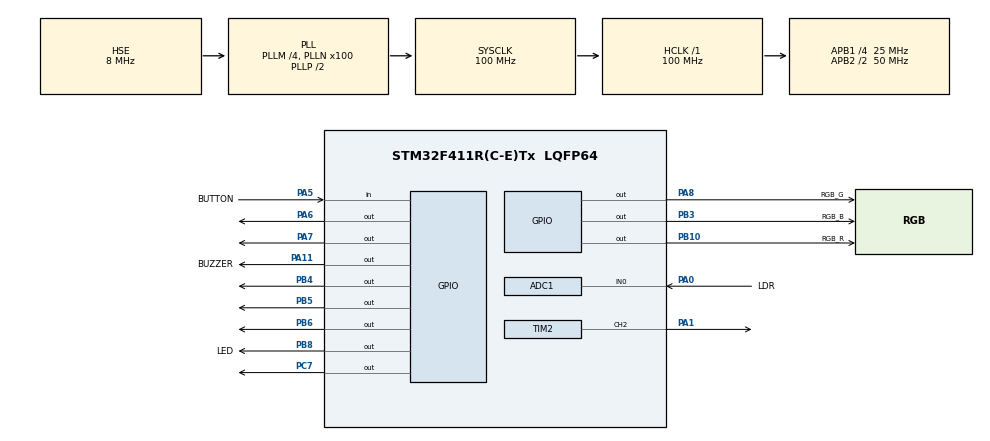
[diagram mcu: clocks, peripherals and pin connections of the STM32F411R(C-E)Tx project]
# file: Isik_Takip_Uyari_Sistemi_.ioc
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ADC1.Channel-0\#ChannelRegularConversion=ADC_CHANNEL_0
ADC1.NbrOfConversionFlag=1
ADC1.Rank-0\#ChannelRegularConversion=1
ADC1.SamplingTime-0\#ChannelRegularConversion=ADC_SAMPLETIME_3CYCLES
ADC1.master=1
Mcu.Family=STM32F4
Mcu.Name=STM32F411R(C-E)Tx
Mcu.Package=LQFP64
NVIC.PriorityGroup=NVIC_PRIORITYGROUP_4
NVIC.TIM2_IRQn=true\:0\:0\:false\:false\:true\:true\:true\:true
PA0-WKUP.GPIO_Label=LDR
PA0-WKUP.Signal=ADCx_IN0
PA1.Signal=S_TIM2_CH2
PA11.GPIO_Label=BUZZER
PA11.Signal=GPIO_Output
PA13.Mode=Serial_Wire
PA13.Signal=SYS_JTMS-SWDIO
PA14.Mode=Serial_Wire
PA14.Signal=SYS_JTCK-SWCLK
PA5.GPIO_Label=BUTTON
PA5.GPIO_PuPd=GPIO_PULLUP
PA5.Signal=GPIO_Input
PA6.Signal=GPIO_Output
PA7.Signal=GPIO_Output
PA8.GPIO_Label=RGB_G
PA8.Signal=GPIO_Output
PB10.GPIO_Label=RGB_R
PB10.Signal=GPIO_Output
PB3.GPIO_Label=RGB_B
PB3.Signal=GPIO_Output
PB4.Signal=GPIO_Output
PB5.Signal=GPIO_Output
PB6.Signal=GPIO_Output
PB8.GPIO_Label=LED
PB8.Signal=GPIO_Output
PC14-OSC32_IN.Mode=LSE-External-Oscillator
PC14-OSC32_IN.Signal=RCC_OSC32_IN
PC15-OSC32_OUT.Mode=LSE-External-Oscillator
PC15-OSC32_OUT.Signal=RCC_OSC32_OUT
PC7.Signal=GPIO_Output
PH0\ -\ OSC_IN.Mode=HSE-External-Oscillator
PH0\ -\ OSC_IN.Signal=RCC_OSC_IN
PH1\ -\ OSC_OUT.Mode=HSE-External-Oscillator
PH1\ -\ OSC_OUT.Signal=RCC_OSC_OUT
ProjectManager.HeapSize=0x200
ProjectManager.StackSize=0x400
ProjectManager.TargetToolchain=STM32CubeIDE
RCC.48MHZClocksFreq_Value=50000000
RCC.AHBFreq_Value=100000000
RCC.APB1CLKDivider=RCC_HCLK_DIV4
RCC.APB1Freq_Value=25000000
RCC.APB1TimFreq_Value=50000000
RCC.APB2CLKDivider=RCC_HCLK_DIV2
RCC.APB2Freq_Value=50000000
RCC.APB2TimFreq_Value=100000000
RCC.CortexFreq_Value=100000000
RCC.HCLKFreq_Value=100000000
RCC.HSE_VALUE=8000000
RCC.HSI_VALUE=16000000
RCC.PLLM=4
RCC.PLLN=100
RCC.PLLSourceVirtual=RCC_PLLSOURCE_HSE
RCC.SYSCLKFreq_VALUE=100000000
RCC.SYSCLKSource=RCC_SYSCLKSOURCE_PLLCLK
RCC.VCOOutputFreq_Value=200000000
SH.ADCx_IN0.0=ADC1_IN0,IN0
SH.S_TIM2_CH2.0=TIM2_CH2,PWM Generation2 CH2
TIM2.Channel-PWM\ Generation2\ CH2=TIM_CHANNEL_2
TIM2.Period=10000-1
TIM2.Prescaler=180-1
VP_TIM2_VS_ClockSourceINT.Mode=Internal
board=custom

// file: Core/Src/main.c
/* USER CODE BEGIN Header */
/**
  ******************************************************************************
  * @file           : main.c
  * @brief          : Main program body
  ******************************************************************************
  * @attention
  *
  * Copyright (c) 2025 STMicroelectronics.
  * All rights reserved.
  *
  * This software is licensed under terms that can be found in the LICENSE file
  * in the root directory of this software component.
  * If no LICENSE file comes with this software, it is provided AS-IS.
  *
  ******************************************************************************
  */
/* USER CODE END Header */
#include "main.h"

/* USER CODE BEGIN Includes */
#include "lcd.h"
/* USER CODE END Includes */

ADC_HandleTypeDef hadc1;

TIM_HandleTypeDef htim2;

/* USER CODE BEGIN PV */
uint16_t adc_res = 0;
uint16_t light_percentage = 0;
uint8_t system_active = 1;
uint8_t buzzer_active = 0;
uint32_t buzzer_start_time = 0;
/* USER CODE END PV */

void SystemClock_Config(void);
static void MX_GPIO_Init(void);
static void MX_TIM2_Init(void);
static void MX_ADC1_Init(void);
/* USER CODE BEGIN PFP */
void Set_RGB_Color(uint8_t red, uint8_t green, uint8_t blue);
/* USER CODE END PFP */

/* USER CODE BEGIN 0 */
uint16_t Get_Light_Percentage(uint32_t adc_value) {
    const uint32_t ADC_MAX = 4095;
    uint16_t percentage = (uint16_t)((1.0 - ((float)adc_value / ADC_MAX)) * 100);
    printf("ADC Value: %u, Light Percentage: %u%%\n", adc_value, percentage);
    return percentage;
}

/* USER CODE END 0 */

int main(void)
{

  /* MCU Configuration--------------------------------------------------------*/

  /* Reset of all peripherals, Initializes the Flash interface and the Systick. */
  HAL_Init();

  /* Configure the system clock */
  SystemClock_Config();

  /* Initialize all configured peripherals */
  MX_GPIO_Init();
  MX_TIM2_Init();
  MX_ADC1_Init();
  /* USER CODE BEGIN 2 */
  HAL_TIM_PWM_Start(&htim2, TIM_CHANNEL_2);

  Lcd_PortType ports[] = { GPIOC, GPIOB, GPIOA, GPIOA };
  Lcd_PinType pins[] = { GPIO_PIN_7, GPIO_PIN_6, GPIO_PIN_7, GPIO_PIN_6 };
  Lcd_HandleTypeDef lcd;
  lcd = Lcd_create(ports, pins, GPIOB, GPIO_PIN_5, GPIOB, GPIO_PIN_4, LCD_4_BIT_MODE);

  /* USER CODE END 2 */

  /* Infinite loop */
  /* USER CODE BEGIN WHILE */
  while (1)
  {
      if (HAL_GPIO_ReadPin(GPIOA, GPIO_PIN_5) == GPIO_PIN_RESET)
      {
          HAL_Delay(50);
          if (HAL_GPIO_ReadPin(GPIOA, GPIO_PIN_5) == GPIO_PIN_RESET)
          {
              while (HAL_GPIO_ReadPin(GPIOA, GPIO_PIN_5) == GPIO_PIN_RESET);
              system_active = !system_active;

              if (system_active)
              {
                  HAL_GPIO_WritePin(GPIOB, GPIO_PIN_8, GPIO_PIN_RESET);
                  Lcd_clear(&lcd);
              }
              else
              {
                  HAL_GPIO_WritePin(GPIOB, GPIO_PIN_8, GPIO_PIN_SET);
                  Set_RGB_Color(0, 0, 0);
                  Lcd_cursor(&lcd, 0, 0);
                  Lcd_string(&lcd, "System Paused   ");
                  Lcd_cursor(&lcd, 1, 0);
                  Lcd_string(&lcd, "                ");
                  HAL_GPIO_WritePin(BUZZER_GPIO_Port, BUZZER_Pin, GPIO_PIN_RESET);
                  buzzer_active = 0;
              }
          }
      }

      if (system_active)
      {
          HAL_ADC_Start(&hadc1);

          HAL_ADC_PollForConversion(&hadc1, 10);

          adc_res = HAL_ADC_GetValue(&hadc1);
          light_percentage = Get_Light_Percentage(adc_res);

          char lcd_line1[16];
          snprintf(lcd_line1, sizeof(lcd_line1), "Light: %d%%", light_percentage);
          Lcd_cursor(&lcd, 0, 0);
          Lcd_string(&lcd, lcd_line1);

          Lcd_cursor(&lcd, 1, 0);
          if (adc_res >= 2500)
          {
              Set_RGB_Color(0, 0, 1);
              Lcd_string(&lcd, "Dark           ");
              __HAL_TIM_SET_COMPARE(&htim2, TIM_CHANNEL_2, 175);
              HAL_GPIO_WritePin(BUZZER_GPIO_Port, BUZZER_Pin, GPIO_PIN_RESET);
              buzzer_active = 0;
          }
          else if (adc_res < 2500 && adc_res >= 1500)
          {
              Set_RGB_Color(0, 1, 0);
              Lcd_string(&lcd, "Normal         ");
              __HAL_TIM_SET_COMPARE(&htim2, TIM_CHANNEL_2, 443);
              HAL_GPIO_WritePin(BUZZER_GPIO_Port, BUZZER_Pin, GPIO_PIN_RESET);
              buzzer_active = 0;
          }
          else if (adc_res < 1500)
          {
              Set_RGB_Color(1, 0, 0);
              Lcd_string(&lcd, "Very Bright    ");
              __HAL_TIM_SET_COMPARE(&htim2, TIM_CHANNEL_2, 710);

              if (!buzzer_active)
              {
                  buzzer_active = 1;
                  buzzer_start_time = HAL_GetTick();
                  HAL_GPIO_WritePin(BUZZER_GPIO_Port, BUZZER_Pin, GPIO_PIN_SET);
              }
          }

          if (buzzer_active && (HAL_GetTick() - buzzer_start_time >= 1000))
          {
              HAL_GPIO_WritePin(BUZZER_GPIO_Port, BUZZER_Pin, GPIO_PIN_RESET);
              HAL_Delay(1000);
              buzzer_active = 0;
          }

          HAL_Delay(50);
      }
  }
    /* USER CODE END WHILE */

}

void SystemClock_Config(void)
{
  RCC_OscInitTypeDef RCC_OscInitStruct = {0};
  RCC_ClkInitTypeDef RCC_ClkInitStruct = {0};

  /** Configure the main internal regulator output voltage
  */
  __HAL_RCC_PWR_CLK_ENABLE();
  __HAL_PWR_VOLTAGESCALING_CONFIG(PWR_REGULATOR_VOLTAGE_SCALE1);

  /** Initializes the RCC Oscillators according to the specified parameters
  * in the RCC_OscInitTypeDef structure.
  */
  RCC_OscInitStruct.OscillatorType = RCC_OSCILLATORTYPE_HSE;
  RCC_OscInitStruct.HSEState = RCC_HSE_ON;
  RCC_OscInitStruct.PLL.PLLState = RCC_PLL_ON;
  RCC_OscInitStruct.PLL.PLLSource = RCC_PLLSOURCE_HSE;
  RCC_OscInitStruct.PLL.PLLM = 4;
  RCC_OscInitStruct.PLL.PLLN = 100;
  RCC_OscInitStruct.PLL.PLLP = RCC_PLLP_DIV2;
  RCC_OscInitStruct.PLL.PLLQ = 4;
  if (HAL_RCC_OscConfig(&RCC_OscInitStruct) != HAL_OK)
  {
    Error_Handler();
  }

  /** Initializes the CPU, AHB and APB buses clocks
  */
  RCC_ClkInitStruct.ClockType = RCC_CLOCKTYPE_HCLK|RCC_CLOCKTYPE_SYSCLK
                              |RCC_CLOCKTYPE_PCLK1|RCC_CLOCKTYPE_PCLK2;
  RCC_ClkInitStruct.SYSCLKSource = RCC_SYSCLKSOURCE_PLLCLK;
  RCC_ClkInitStruct.AHBCLKDivider = RCC_SYSCLK_DIV1;
  RCC_ClkInitStruct.APB1CLKDivider = RCC_HCLK_DIV4;
  RCC_ClkInitStruct.APB2CLKDivider = RCC_HCLK_DIV2;

  if (HAL_RCC_ClockConfig(&RCC_ClkInitStruct, FLASH_LATENCY_3) != HAL_OK)
  {
    Error_Handler();
  }
}

static void MX_ADC1_Init(void)
{

  ADC_ChannelConfTypeDef sConfig = {0};

  /** Configure the global features of the ADC (Clock, Resolution, Data Alignment and number of conversion)
  */
  hadc1.Instance = ADC1;
  hadc1.Init.ClockPrescaler = ADC_CLOCK_SYNC_PCLK_DIV2;
  hadc1.Init.Resolution = ADC_RESOLUTION_12B;
  hadc1.Init.ScanConvMode = DISABLE;
  hadc1.Init.ContinuousConvMode = DISABLE;
  hadc1.Init.DiscontinuousConvMode = DISABLE;
  hadc1.Init.ExternalTrigConvEdge = ADC_EXTERNALTRIGCONVEDGE_NONE;
  hadc1.Init.ExternalTrigConv = ADC_SOFTWARE_START;
  hadc1.Init.DataAlign = ADC_DATAALIGN_RIGHT;
  hadc1.Init.NbrOfConversion = 1;
  hadc1.Init.DMAContinuousRequests = DISABLE;
  hadc1.Init.EOCSelection = ADC_EOC_SINGLE_CONV;
  if (HAL_ADC_Init(&hadc1) != HAL_OK)
  {
    Error_Handler();
  }

  /** Configure for the selected ADC regular channel its corresponding rank in the sequencer and its sample time.
  */
  sConfig.Channel = ADC_CHANNEL_0;
  sConfig.Rank = 1;
  sConfig.SamplingTime = ADC_SAMPLETIME_3CYCLES;
  if (HAL_ADC_ConfigChannel(&hadc1, &sConfig) != HAL_OK)
  {
    Error_Handler();
  }

}

static void MX_TIM2_Init(void)
{

  TIM_ClockConfigTypeDef sClockSourceConfig = {0};
  TIM_MasterConfigTypeDef sMasterConfig = {0};
  TIM_OC_InitTypeDef sConfigOC = {0};

  htim2.Instance = TIM2;
  htim2.Init.Prescaler = 180-1;
  htim2.Init.CounterMode = TIM_COUNTERMODE_UP;
  htim2.Init.Period = 10000-1;
  htim2.Init.ClockDivision = TIM_CLOCKDIVISION_DIV1;
  htim2.Init.AutoReloadPreload = TIM_AUTORELOAD_PRELOAD_DISABLE;
  if (HAL_TIM_Base_Init(&htim2) != HAL_OK)
  {
    Error_Handler();
  }
  sClockSourceConfig.ClockSource = TIM_CLOCKSOURCE_INTERNAL;
  if (HAL_TIM_ConfigClockSource(&htim2, &sClockSourceConfig) != HAL_OK)
  {
    Error_Handler();
  }
  if (HAL_TIM_PWM_Init(&htim2) != HAL_OK)
  {
    Error_Handler();
  }
  sMasterConfig.MasterOutputTrigger = TIM_TRGO_RESET;
  sMasterConfig.MasterSlaveMode = TIM_MASTERSLAVEMODE_DISABLE;
  if (HAL_TIMEx_MasterConfigSynchronization(&htim2, &sMasterConfig) != HAL_OK)
  {
    Error_Handler();
  }
  sConfigOC.OCMode = TIM_OCMODE_PWM1;
  sConfigOC.Pulse = 0;
  sConfigOC.OCPolarity = TIM_OCPOLARITY_HIGH;
  sConfigOC.OCFastMode = TIM_OCFAST_DISABLE;
  if (HAL_TIM_PWM_ConfigChannel(&htim2, &sConfigOC, TIM_CHANNEL_2) != HAL_OK)
  {
    Error_Handler();
  }
  HAL_TIM_MspPostInit(&htim2);

}

static void MX_GPIO_Init(void)
{
  GPIO_InitTypeDef GPIO_InitStruct = {0};

  /* GPIO Ports Clock Enable */
  __HAL_RCC_GPIOC_CLK_ENABLE();
  __HAL_RCC_GPIOH_CLK_ENABLE();
  __HAL_RCC_GPIOA_CLK_ENABLE();
  __HAL_RCC_GPIOB_CLK_ENABLE();

  /*Configure GPIO pin Output Level */
  HAL_GPIO_WritePin(GPIOA, GPIO_PIN_6|GPIO_PIN_7|RGB_G_Pin|BUZZER_Pin, GPIO_PIN_RESET);

  /*Configure GPIO pin Output Level */
  HAL_GPIO_WritePin(GPIOB, RGB_R_Pin|RGB_B_Pin|GPIO_PIN_4|GPIO_PIN_5
                          |GPIO_PIN_6|LED_Pin, GPIO_PIN_RESET);

  /*Configure GPIO pin Output Level */
  HAL_GPIO_WritePin(GPIOC, GPIO_PIN_7, GPIO_PIN_RESET);

  /*Configure GPIO pin : BUTTON_Pin */
  GPIO_InitStruct.Pin = BUTTON_Pin;
  GPIO_InitStruct.Mode = GPIO_MODE_INPUT;
  GPIO_InitStruct.Pull = GPIO_PULLUP;
  HAL_GPIO_Init(BUTTON_GPIO_Port, &GPIO_InitStruct);

  /*Configure GPIO pins : PA6 PA7 RGB_G_Pin BUZZER_Pin */
  GPIO_InitStruct.Pin = GPIO_PIN_6|GPIO_PIN_7|RGB_G_Pin|BUZZER_Pin;
  GPIO_InitStruct.Mode = GPIO_MODE_OUTPUT_PP;
  GPIO_InitStruct.Pull = GPIO_NOPULL;
  GPIO_InitStruct.Speed = GPIO_SPEED_FREQ_LOW;
  HAL_GPIO_Init(GPIOA, &GPIO_InitStruct);

  /*Configure GPIO pins : RGB_R_Pin RGB_B_Pin PB4 PB5
                           PB6 LED_Pin */
  GPIO_InitStruct.Pin = RGB_R_Pin|RGB_B_Pin|GPIO_PIN_4|GPIO_PIN_5
                          |GPIO_PIN_6|LED_Pin;
  GPIO_InitStruct.Mode = GPIO_MODE_OUTPUT_PP;
  GPIO_InitStruct.Pull = GPIO_NOPULL;
  GPIO_InitStruct.Speed = GPIO_SPEED_FREQ_LOW;
  HAL_GPIO_Init(GPIOB, &GPIO_InitStruct);

  /*Configure GPIO pin : PC7 */
  GPIO_InitStruct.Pin = GPIO_PIN_7;
  GPIO_InitStruct.Mode = GPIO_MODE_OUTPUT_PP;
  GPIO_InitStruct.Pull = GPIO_NOPULL;
  GPIO_InitStruct.Speed = GPIO_SPEED_FREQ_LOW;
  HAL_GPIO_Init(GPIOC, &GPIO_InitStruct);

}

/* USER CODE BEGIN 4 */
void Set_RGB_Color(uint8_t red, uint8_t green, uint8_t blue)
{
    HAL_GPIO_WritePin(GPIOB, GPIO_PIN_10, red ? GPIO_PIN_RESET : GPIO_PIN_SET);
    HAL_GPIO_WritePin(GPIOA, GPIO_PIN_8, green ? GPIO_PIN_RESET : GPIO_PIN_SET);
    HAL_GPIO_WritePin(GPIOB, GPIO_PIN_3, blue ? GPIO_PIN_RESET : GPIO_PIN_SET);
}

/* USER CODE END 4 */

void Error_Handler(void)
{
  __disable_irq();
  while (1)
  {
  }
}
